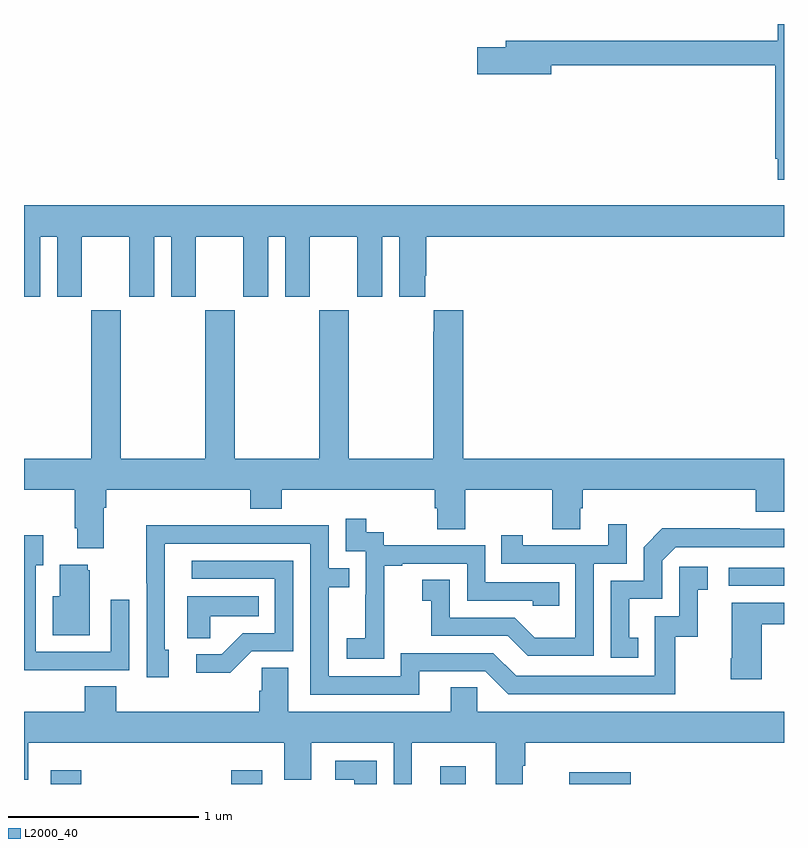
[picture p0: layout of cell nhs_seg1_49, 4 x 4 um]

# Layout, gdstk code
import gdstk
lib = gdstk.Library(unit=1e-6, precision=1e-09)
def R(c, l, rs):  # rectangles x0, y0, x1, y1
    for r in rs: c.add(gdstk.rectangle(r[:2], r[2:], *l))
def P(c, l, *ps):  # polygons
    for p in ps: c.add(gdstk.Polygon(p, *l))
L2000_40 = (2000, 40)

nhs_seg1_49 = lib.new_cell('nhs_seg1_49')
R(nhs_seg1_49, L2000_40, [(113.141,534.199,113.302,534.271), (114.092,534.199,114.253,534.271), (115.19,534.199,115.324,534.292), (115.869,534.199,116.194,534.262), (116.709,535.242,117,535.338)])
P(nhs_seg1_49, L2000_40, [(117,538.199),(116.966,538.199),(116.966,538.111),(115.535,538.111),(115.535,538.077),(115.386,538.077),(115.386,537.935),(115.774,537.935),(115.774,537.982),(116.954,537.982),(116.954,537.49),(116.966,537.49),(116.966,537.378),(117,537.378)],
  [(113.086,537.08),(113.174,537.08),(113.174,536.763),(113.305,536.763),(113.305,537.08),(113.555,537.08),(113.555,536.763),(113.686,536.763),(113.686,537.08),(113.774,537.08),(113.774,536.763),(113.905,536.763),(113.905,537.08),(114.155,537.08),(114.155,536.763),(114.286,536.763),(114.286,537.08),(114.374,537.08),(114.374,536.763),(114.505,536.763),(114.505,537.08),(114.755,537.08),(114.755,536.763),(114.886,536.763),(114.886,537.08),(114.974,537.08),(114.974,536.763),(115.111,536.763),(115.111,536.875),(115.118,536.875),(115.118,537.08),(117,537.08),(117,537.244),(113,537.244),(113,536.763),(113.086,536.763)],
  [(113.419,535.652),(113.432,535.652),(113.432,535.748),(114.191,535.748),(114.191,535.649),(114.356,535.649),(114.356,535.748),(115.163,535.748),(115.163,535.65),(115.175,535.65),(115.175,535.54),(115.323,535.54),(115.323,535.748),(115.78,535.748),(115.78,535.54),(115.927,535.54),(115.927,535.65),(115.94,535.65),(115.94,535.748),(116.852,535.748),(116.852,535.631),(117,535.631),(117,535.912),(115.313,535.912),(115.313,536.692),(115.157,536.692),(115.157,536.579),(115.153,536.579),(115.153,535.912),(114.708,535.912),(114.708,536.692),(114.553,536.692),(114.553,535.912),(114.108,535.912),(114.108,536.692),(113.953,536.692),(113.953,535.912),(113.508,535.912),(113.508,536.692),(113.353,536.692),(113.353,535.912),(113,535.912),(113,535.748),(113.267,535.748),(113.267,535.546),(113.279,535.546),(113.279,535.439),(113.419,535.439)],
  [(114.897,535.063),(114.896,535.063),(114.896,535.347),(114.991,535.347),(114.991,535.359),(115.332,535.359),(115.332,535.164),(115.677,535.164),(115.677,535.137),(115.817,535.137),(115.817,535.26),(115.428,535.26),(115.428,535.455),(114.894,535.455),(114.894,535.524),(114.802,535.524),(114.802,535.594),(114.693,535.594),(114.693,535.425),(114.798,535.425),(114.798,535.196),(114.797,535.196),(114.797,534.967),(114.699,534.967),(114.699,534.857),(114.897,534.857)],
  [(115.998,535.359),(116.172,535.359),(116.172,535.567),(116.075,535.567),(116.075,535.455),(115.624,535.455),(115.624,535.507),(115.513,535.507),(115.513,535.359),(115.902,535.359),(115.902,534.97),(115.688,534.97),(115.584,535.074),(115.242,535.074),(115.242,535.273),(115.095,535.273),(115.095,535.163),(115.144,535.163),(115.144,534.978),(115.547,534.978),(115.652,534.873),(115.998,534.873)],
  [(115.081,534.792),(115.428,534.792),(115.548,534.672),(116.428,534.672),(116.428,534.975),(116.546,534.975),(116.546,535.221),(116.599,535.221),(116.599,535.342),(116.448,535.342),(116.448,535.083),(116.319,535.083),(116.319,534.768),(115.59,534.768),(115.47,534.888),(114.984,534.888),(114.984,534.765),(114.603,534.765),(114.603,535.234),(114.713,535.234),(114.713,535.335),(114.603,535.335),(114.603,535.56),(114.107,535.56),(114.107,535.562),(113.644,535.562),(113.644,535.255),(113.646,535.255),(113.646,534.762),(113.761,534.762),(113.761,534.906),(113.742,534.906),(113.742,535.464),(114.507,535.464),(114.507,534.669),(115.081,534.669)],
  [(116.234,534.969),(116.185,534.969),(116.185,535.173),(116.358,535.173),(116.358,535.374),(116.43,535.446),(117,535.446),(117,535.542),(116.768,535.542),(116.768,535.544),(116.36,535.544),(116.262,535.446),(116.262,535.269),(116.088,535.269),(116.088,534.864),(116.234,534.864)],
  [(113.237,534.798),(113.553,534.798),(113.553,535.168),(113.457,535.168),(113.457,534.894),(113.061,534.894),(113.061,535.351),(113.101,535.351),(113.101,535.507),(113,535.507),(113,534.797),(113.237,534.797)],
  [(114.198,534.897),(114.417,534.897),(114.417,535.374),(113.883,535.374),(113.883,535.278),(114.321,535.278),(114.321,534.993),(114.152,534.993),(114.041,534.882),(113.907,534.882),(113.907,534.785),(114.085,534.785)],
  [(113.347,535.323),(113.336,535.323),(113.336,535.354),(113.189,535.354),(113.189,535.186),(113.15,535.186),(113.15,534.983),(113.347,534.983)],
  [(113.979,535.082),(114.236,535.082),(114.236,535.186),(113.858,535.186),(113.858,534.967),(113.979,534.967)],
  [(116.884,535.039),(117,535.039),(117,535.153),(116.726,535.153),(116.726,534.862),(116.719,534.862),(116.719,534.75),(116.884,534.75)],
  [(115.042,534.416),(115.484,534.416),(115.484,534.199),(115.624,534.199),(115.624,534.296),(115.637,534.296),(115.637,534.416),(117,534.416),(117,534.58),(115.386,534.58),(115.386,534.707),(115.247,534.707),(115.247,534.58),(114.391,534.58),(114.391,534.812),(114.252,534.812),(114.252,534.689),(114.239,534.689),(114.239,534.58),(113.486,534.58),(113.486,534.713),(113.321,534.713),(113.321,534.58),(113,534.58),(113,534.222),(113.023,534.222),(113.023,534.416),(114.371,534.416),(114.371,534.222),(114.511,534.222),(114.511,534.416),(114.945,534.416),(114.945,534.199),(115.042,534.199)],
  [(114.856,534.322),(114.639,534.322),(114.639,534.221),(114.737,534.221),(114.737,534.199),(114.856,534.199)])

lib.write_gds('nhs_seg1_49.gds')
